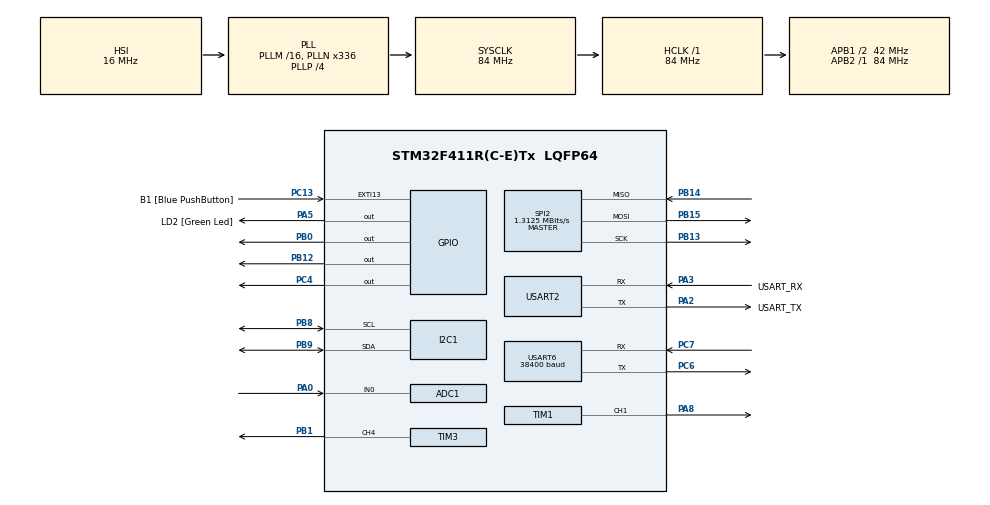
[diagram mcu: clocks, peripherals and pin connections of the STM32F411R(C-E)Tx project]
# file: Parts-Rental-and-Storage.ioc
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ADC1.Channel-0\#ChannelRegularConversion=ADC_CHANNEL_0
ADC1.NbrOfConversionFlag=1
ADC1.Rank-0\#ChannelRegularConversion=1
ADC1.SamplingTime-0\#ChannelRegularConversion=ADC_SAMPLETIME_144CYCLES
ADC1.master=1
Mcu.Family=STM32F4
Mcu.Name=STM32F411R(C-E)Tx
Mcu.Package=LQFP64
NVIC.PriorityGroup=NVIC_PRIORITYGROUP_0
NVIC.USART6_IRQn=true\:0\:0\:false\:false\:true\:true\:true\:true
PA0-WKUP.Signal=ADCx_IN0
PA13.GPIO_Label=TMS
PA13.Mode=Serial_Wire
PA13.Signal=SYS_JTMS-SWDIO
PA14.GPIO_Label=TCK
PA14.Mode=Serial_Wire
PA14.Signal=SYS_JTCK-SWCLK
PA2.GPIO_Label=USART_TX
PA2.Mode=Asynchronous
PA2.Signal=USART2_TX
PA3.GPIO_Label=USART_RX
PA3.Mode=Asynchronous
PA3.Signal=USART2_RX
PA5.GPIO_Label=LD2 [Green Led]
PA5.Signal=GPIO_Output
PA8.Signal=S_TIM1_CH1
PB0.Signal=GPIO_Output
PB1.Signal=S_TIM3_CH4
PB12.PinState=GPIO_PIN_SET
PB12.Signal=GPIO_Output
PB13.Mode=Full_Duplex_Master
PB13.Signal=SPI2_SCK
PB14.Mode=Full_Duplex_Master
PB14.Signal=SPI2_MISO
PB15.Mode=Full_Duplex_Master
PB15.Signal=SPI2_MOSI
PB3.GPIO_Label=SWO
PB3.Signal=SYS_JTDO-SWO
PB8.Mode=I2C
PB8.Signal=I2C1_SCL
PB9.Mode=I2C
PB9.Signal=I2C1_SDA
PC13-ANTI_TAMP.GPIO_Label=B1 [Blue PushButton]
PC13-ANTI_TAMP.GPIO_ModeDefaultEXTI=GPIO_MODE_IT_FALLING
PC13-ANTI_TAMP.Signal=GPXTI13
PC14-OSC32_IN.Mode=LSE-External-Oscillator
PC14-OSC32_IN.Signal=RCC_OSC32_IN
PC15-OSC32_OUT.Mode=LSE-External-Oscillator
PC15-OSC32_OUT.Signal=RCC_OSC32_OUT
PC4.PinState=GPIO_PIN_SET
PC4.Signal=GPIO_Output
PC6.Mode=Asynchronous
PC6.Signal=USART6_TX
PC7.Mode=Asynchronous
PC7.Signal=USART6_RX
PH0\ -\ OSC_IN.Mode=HSE-External-Clock-Source
PH0\ -\ OSC_IN.Signal=RCC_OSC_IN
PH1\ -\ OSC_OUT.Mode=HSE-External-Clock-Source
PH1\ -\ OSC_OUT.Signal=RCC_OSC_OUT
ProjectManager.HeapSize=0x200
ProjectManager.StackSize=0x400
ProjectManager.TargetToolchain=CMake
RCC.48MHZClocksFreq_Value=84000000
RCC.AHBFreq_Value=84000000
RCC.APB1CLKDivider=RCC_HCLK_DIV2
RCC.APB1Freq_Value=42000000
RCC.APB1TimFreq_Value=84000000
RCC.APB2Freq_Value=84000000
RCC.APB2TimFreq_Value=84000000
RCC.CortexFreq_Value=84000000
RCC.FLatency-AdvancedSettings=FLASH_LATENCY_2
RCC.HCLKFreq_Value=84000000
RCC.HSE_VALUE=8000000
RCC.HSI_VALUE=16000000
RCC.PLLN=336
RCC.PLLP=RCC_PLLP_DIV4
RCC.SYSCLKFreq_VALUE=84000000
RCC.SYSCLKSource=RCC_SYSCLKSOURCE_PLLCLK
RCC.VCOOutputFreq_Value=336000000
SH.ADCx_IN0.0=ADC1_IN0,IN0
SH.S_TIM1_CH1.0=TIM1_CH1,PWM Generation1 CH1
SH.S_TIM3_CH4.0=TIM3_CH4,PWM Generation4 CH4
SPI2.BaudRatePrescaler=SPI_BAUDRATEPRESCALER_32
SPI2.CalculateBaudRate=1.3125 MBits/s
SPI2.Direction=SPI_DIRECTION_2LINES
SPI2.Mode=SPI_MODE_MASTER
SPI2.VirtualType=VM_MASTER
TIM1.AutoReloadPreload=TIM_AUTORELOAD_PRELOAD_ENABLE
TIM1.Channel-PWM\ Generation1\ CH1=TIM_CHANNEL_1
TIM1.Period=19999
TIM1.Prescaler=83
TIM1.Pulse-PWM\ Generation1\ CH1=1500
TIM3.AutoReloadPreload=TIM_AUTORELOAD_PRELOAD_ENABLE
TIM3.Channel-PWM\ Generation4\ CH4=TIM_CHANNEL_4
TIM3.Period=499
TIM3.Prescaler=83
TIM3.Pulse-PWM\ Generation4\ CH4=0
USART2.VirtualMode=VM_ASYNC
USART6.BaudRate=38400
USART6.VirtualMode=VM_ASYNC
VP_TIM1_VS_ClockSourceINT.Mode=Internal
VP_TIM3_VS_ClockSourceINT.Mode=Internal
board=NUCLEO-F411RE

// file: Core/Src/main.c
/* USER CODE BEGIN Header */
/**
  ******************************************************************************
  * @file           : main.c
  * @brief          : Main program body
  ******************************************************************************
  * @attention
  *
  * Copyright (c) 2026 STMicroelectronics.
  * All rights reserved.
  *
  * This software is licensed under terms that can be found in the LICENSE file
  * in the root directory of this software component.
  * If no LICENSE file comes with this software, it is provided AS-IS.
  *
  ******************************************************************************
  */
/* USER CODE END Header */
#include "main.h"
#include "adc.h"
#include "i2c.h"
#include "spi.h"
#include "tim.h"
#include "usart.h"
#include "gpio.h"

/* USER CODE BEGIN Includes */
#include "esp.h"
#include "rc522.h"
#include "servo_lock.h"
#include "door_sensor.h"
#include "intrusion_alarm.h"
#include "lcd1602.h"
#include "tool_buzzer.h"
#include <stdio.h>
#include <string.h>
/* USER CODE END Includes */

/* USER CODE BEGIN PD */
#define LOCKER_LED_GPIO_PORT GPIOB
#define LOCKER_LED_GPIO_PIN  GPIO_PIN_0
/* USER CODE END PD */

/* USER CODE BEGIN PV */
static uint32_t wifi_check_tick;
static uint8_t wifi_connected;
static char wifi_message[ESP_MESSAGE_SIZE];
static uint8_t rfid_ready;
static uint32_t rfid_poll_tick;
static uint32_t rfid_error_tick;
static rc522_uid_t last_uid;
static uint8_t rfid_misses;
static uint8_t card_receipt_pending;
static uint32_t card_send_tick;
static char pending_card_uid[21];
static uint8_t card_auth_pending;
static uint32_t card_request_counter;
static char pending_card_request[17];
static uint32_t cds_sample_tick;
static uint32_t cds_send_tick;
static uint32_t cds_request_counter;
static uint8_t locker_led_on;
static door_state_t latest_door_state = DOOR_UNKNOWN;
static uint8_t alarm_state;
static uint8_t alarm_sent_state = 2U;
static uint32_t alarm_send_tick;
static char pending_room[11], active_room[11];
static uint8_t lcd_temporary_message;
static uint32_t lcd_message_tick;
static char session_uid[21], session_id[17], active_tool[32];
static char active_tool_result[9];
static uint8_t session_dirty = 1;
static uint32_t session_send_tick;
/* USER CODE END PV */

void SystemClock_Config(void);
/* USER CODE BEGIN PFP */
static void wifi_connect(void);
static void esp_event(char *message);
static void rfid_poll(void);
static void cds_sample(void);
static void alarm_poll(void);
static void lcd_prompt(void);
static void lcd_status(const char *first, const char *second);
static void camera_session_poll(void);
/* USER CODE END PFP */

int main(void)
{

  /* MCU Configuration--------------------------------------------------------*/

  /* Reset of all peripherals, Initializes the Flash interface and the Systick. */
  HAL_Init();

  /* Configure the system clock */
  SystemClock_Config();

  /* Initialize all configured peripherals */
  MX_GPIO_Init();
  MX_ADC1_Init();
  MX_I2C1_Init();
  MX_SPI2_Init();
  MX_TIM1_Init();
  MX_TIM3_Init();
  MX_USART2_UART_Init();
  MX_USART6_UART_Init();
  /* USER CODE BEGIN 2 */
  printf("\r\nParts locker - Wi-Fi start (USART6 baud probe)\r\n");
  printf("[BUZZER] %s\r\n", tool_buzzer_init() == 0 ? "PB1 PWM ready (2kHz)" : "Init FAILED");
  uint8_t lcd_address;
  if (lcd1602_init(&lcd_address) == 0)
  {
    printf("[LCD] Ready at I2C address=0x%02X\r\n", lcd_address);
    lcd_prompt();
  }
  else printf("[LCD] Init FAILED; check PB8/PB9, address and backpack wiring\r\n");
  printf("[SERVO] %s\r\n", servo_lock_init() == 0 ?
         "State=LOCK (initial position)" : "State=UNKNOWN; init FAILED; check TIM1 50Hz settings");
  uint8_t rfid_version;
  rfid_ready = rc522_init(&rfid_version) == 0;
  printf("[RFID] Version=0x%02X; %s\r\n", rfid_version,
         rfid_ready ? "ready - tag one card" : "init FAILED; check SPI/CS/RST/3.3V");
  if (ESP_WIFI_SSID[0] != '\0' && ESP_SERVER_HOST[0] != '\0')
  {
    wifi_connect();
  }
  else
  {
    printf("Set Wi-Fi SSID/password and server address in esp.h first\r\n");
  }
  wifi_check_tick = HAL_GetTick();
  /* USER CODE END 2 */

  /* Infinite loop */
  /* USER CODE BEGIN WHILE */
  while (1)
  {
    esp_poll();
    if (lcd_temporary_message && !card_auth_pending &&
        (uint32_t)(HAL_GetTick() - lcd_message_tick) >= 3000U) lcd_prompt();
    if (rfid_ready && !card_auth_pending &&
        (uint32_t)(HAL_GetTick() - rfid_poll_tick) >= 200U)
    {
      rfid_poll();
      rfid_poll_tick = HAL_GetTick();
    }
    while (esp_read_message(wifi_message, sizeof(wifi_message)) > 0)
    {
      esp_event(wifi_message);
    }
    if ((uint32_t)(HAL_GetTick() - cds_sample_tick) >= 500U)
    {
      cds_sample();
      cds_sample_tick = HAL_GetTick();
    }
    alarm_poll();
    camera_session_poll();
    if (card_receipt_pending && (uint32_t)(HAL_GetTick() - card_send_tick) >= 5000U)
    {
      printf("[RFID] Server receipt TIMEOUT for UID=%s; delivery not confirmed\r\n",
             pending_card_uid);
      esp_print_rx_diagnostic();
      card_receipt_pending = 0;
    }
    if (card_auth_pending && (uint32_t)(HAL_GetTick() - card_send_tick) >= 10000U)
    {
      printf("[AUTH] No authorization response for UID=%s; access not approved\r\n", pending_card_uid);
      card_auth_pending = 0;
      lcd_status("Server timeout", "Try card again");
    }
    if (!card_auth_pending &&
        (uint32_t)(HAL_GetTick() - wifi_check_tick) >= 10000U &&
        ESP_WIFI_SSID[0] != '\0' && ESP_SERVER_HOST[0] != '\0')
    {
      if (!wifi_connected || esp_get_status() != 0) wifi_connect();
      wifi_check_tick = HAL_GetTick();
    }
    HAL_Delay(1);
    /* USER CODE END WHILE */

  }
}

void SystemClock_Config(void)
{
  RCC_OscInitTypeDef RCC_OscInitStruct = {0};
  RCC_ClkInitTypeDef RCC_ClkInitStruct = {0};

  /** Configure the main internal regulator output voltage
  */
  __HAL_RCC_PWR_CLK_ENABLE();
  __HAL_PWR_VOLTAGESCALING_CONFIG(PWR_REGULATOR_VOLTAGE_SCALE1);

  /** Initializes the RCC Oscillators according to the specified parameters
  * in the RCC_OscInitTypeDef structure.
  */
  RCC_OscInitStruct.OscillatorType = RCC_OSCILLATORTYPE_HSI;
  RCC_OscInitStruct.HSIState = RCC_HSI_ON;
  RCC_OscInitStruct.HSICalibrationValue = RCC_HSICALIBRATION_DEFAULT;
  RCC_OscInitStruct.PLL.PLLState = RCC_PLL_ON;
  RCC_OscInitStruct.PLL.PLLSource = RCC_PLLSOURCE_HSI;
  RCC_OscInitStruct.PLL.PLLM = 16;
  RCC_OscInitStruct.PLL.PLLN = 336;
  RCC_OscInitStruct.PLL.PLLP = RCC_PLLP_DIV4;
  RCC_OscInitStruct.PLL.PLLQ = 4;
  if (HAL_RCC_OscConfig(&RCC_OscInitStruct) != HAL_OK)
  {
    Error_Handler();
  }

  /** Initializes the CPU, AHB and APB buses clocks
  */
  RCC_ClkInitStruct.ClockType = RCC_CLOCKTYPE_HCLK|RCC_CLOCKTYPE_SYSCLK
                              |RCC_CLOCKTYPE_PCLK1|RCC_CLOCKTYPE_PCLK2;
  RCC_ClkInitStruct.SYSCLKSource = RCC_SYSCLKSOURCE_PLLCLK;
  RCC_ClkInitStruct.AHBCLKDivider = RCC_SYSCLK_DIV1;
  RCC_ClkInitStruct.APB1CLKDivider = RCC_HCLK_DIV2;
  RCC_ClkInitStruct.APB2CLKDivider = RCC_HCLK_DIV1;

  if (HAL_RCC_ClockConfig(&RCC_ClkInitStruct, FLASH_LATENCY_2) != HAL_OK)
  {
    Error_Handler();
  }
}

/* USER CODE BEGIN 4 */
static void lcd_prompt(void)
{
  lcd_temporary_message = 0;
  if (servo_lock_is_unlocked())
  {
    char first[17];
    snprintf(first, sizeof(first), "Room %s", active_room[0] ? active_room : "?");
    if (active_tool[0])
    {
      char second[64];
      if (!strcmp(active_tool_result,"RENTED")) strcpy(second,"Rental complete");
      else if (!strcmp(active_tool_result,"RETURNED")) strcpy(second,"Return complete");
      else if (!strcmp(active_tool_result,"BUSY")) strcpy(second,"Tool in use");
      else snprintf(second, sizeof(second), "Tool %s detected", active_tool);
      lcd1602_show(first, second, 1);
    }
    else lcd1602_show(first, "Show tool to camera", 1);
  }
  else lcd1602_show("Tap RFID card", "", 0);
}

static void lcd_status(const char *first, const char *second)
{
  lcd1602_show(first, second, 0);
  lcd_message_tick = HAL_GetTick();
  lcd_temporary_message = 1;
}

static void cds_sample(void)
{
  uint32_t sum = 0;
  /* Average eight PA0 samples; bounded waits keep UART and servo responsive. */
  for (uint8_t i = 0; i < 8U; ++i)
  {
    HAL_StatusTypeDef status = HAL_ADC_Start(&hadc1);
    if (status == HAL_OK) status = HAL_ADC_PollForConversion(&hadc1, 2);
    if (status != HAL_OK)
    {
      HAL_ADC_Stop(&hadc1);
      door_sensor_discard_sample();
      printf("[CDS] ADC read FAILED (HAL status=%u)\r\n", (unsigned)status);
      return;
    }
    sum += HAL_ADC_GetValue(&hadc1);
    if (HAL_ADC_Stop(&hadc1) != HAL_OK)
    {
      door_sensor_discard_sample();
      printf("[CDS] ADC stop FAILED\r\n");
      return;
    }
    esp_poll();
  }
  uint32_t average = (sum + 4U) / 8U;
  /* Approximate voltage assumes a 3.3V ADC reference. */
  uint32_t millivolts = (average * 3300U + 2047U) / 4095U;
  door_state_t door = door_sensor_update((uint16_t)average);
  latest_door_state = door;
  uint8_t led_on = door == DOOR_OPEN;
  HAL_GPIO_WritePin(LOCKER_LED_GPIO_PORT, LOCKER_LED_GPIO_PIN,
                   led_on ? GPIO_PIN_SET : GPIO_PIN_RESET);
  if (led_on != locker_led_on)
  {
    locker_led_on = led_on;
    printf("[LED] State=%s (door=%s)\r\n", led_on ? "ON" : "OFF",
           door_sensor_state_name(door));
  }
  printf("[CDS] ADC=%lu voltage=%lu.%03luV door=%s led=%s\r\n", (unsigned long)average,
         (unsigned long)(millivolts / 1000U), (unsigned long)(millivolts % 1000U),
         door_sensor_state_name(door), led_on ? "ON" : "OFF");
  if (wifi_connected && !card_auth_pending &&
      (uint32_t)(HAL_GetTick() - cds_send_tick) >= 5000U)
  {
    char message[96];
    ++cds_request_counter;
    snprintf(message, sizeof(message), "[" ESP_DEVICE_ID "]SENSOR@%lu@%08lX%08lX\n",
             (unsigned long)average, (unsigned long)HAL_GetTick(), (unsigned long)cds_request_counter);
    cds_send_tick = HAL_GetTick();
    if (esp_send_data(message) != 0)
    {
      wifi_connected = 0;
      printf("[CDS] Server send FAILED; sample not queued for retry\r\n");
    }
  }
}

static void alarm_poll(void)
{
  uint32_t now = HAL_GetTick();
  uint8_t active = intrusion_alarm_update(!servo_lock_is_unlocked(), latest_door_state, now);
  if (active != alarm_state)
  {
    alarm_state = active;
    printf("[ALARM] %s locker=" ESP_DEVICE_ID "\r\n", active ? "ACTIVE" : "CLEAR");
  }
  if (wifi_connected && latest_door_state != DOOR_UNKNOWN &&
      (alarm_sent_state != active || (uint32_t)(now - alarm_send_tick) >= 5000U))
  {
    char message[80];
    snprintf(message, sizeof(message), "[" ESP_DEVICE_ID "]ALARM@%s\n", active ? "ACTIVE" : "CLEAR");
    if (esp_send_data(message) == 0)
    {
      alarm_sent_state = active;
      alarm_send_tick = HAL_GetTick();
    }
    else wifi_connected = 0;
  }
}

static void rfid_poll(void)
{
  rc522_uid_t uid;
  int result = rc522_read_uid(&uid);
  if (result == 0)
  {
    if (rfid_misses < 3U) ++rfid_misses;
    if (rfid_misses >= 3U) last_uid.length = 0;
    return;
  }
  if (result < 0)
  {
    if ((uint32_t)(HAL_GetTick() - rfid_error_tick) >= 2000U)
    {
      const rc522_diagnostic_t *info = rc522_diagnostic();
      printf("[RFID] %s FAILED: %s\r\n", info->stage, info->reason);
      printf("[RFID] irq=0x%02X error=0x%02X fifo=%u bits=%u\r\n",
             info->irq, info->error, info->fifo_count, info->last_bits);
      rfid_error_tick = HAL_GetTick();
    }
    return;
  }
  rfid_misses = 0;
  if (uid.length == last_uid.length &&
      memcmp(uid.bytes, last_uid.bytes, uid.length) == 0) return;
  last_uid = uid;
  char uid_hex[21];
  static const char hex[] = "0123456789ABCDEF";
  for (uint8_t i = 0; i < uid.length; ++i)
  {
    uid_hex[2U * i] = hex[uid.bytes[i] >> 4U];
    uid_hex[2U * i + 1U] = hex[uid.bytes[i] & 0x0FU];
  }
  uid_hex[2U * uid.length] = '\0';
  printf("[RFID] UID=%s\r\n", uid_hex);
  int currently_unlocked = servo_lock_is_unlocked();
  printf("[SERVO] State=%s (card tagged)\r\n", currently_unlocked ? "UNLOCK" : "LOCK");
  if (!servo_lock_card_can_operate(uid_hex))
  {
    lcd_status("Locker in use", "Use same card");
    printf("[RFID] Session=ACTIVE owner=%s; another card cannot toggle this locker\r\n",
           servo_lock_active_uid());
    return;
  }
  if (!wifi_connected)
  {
    lcd_status("Server offline", "Try card again");
    printf("[RFID] Server offline; card not sent. Retag after reconnect.\r\n");
    return;
  }
  char message[ESP_MESSAGE_SIZE];
  pending_room[0] = '\0';
  lcd_status("Checking card", "Please wait");
  ++card_request_counter;
  snprintf(pending_card_request, sizeof(pending_card_request), "%08lX%08lX",
           (unsigned long)HAL_GetTick(), (unsigned long)card_request_counter);
  int length = snprintf(message, sizeof(message), "[" ESP_DEVICE_ID "]CARD@%s@%s\n",
                        uid_hex, pending_card_request);
  if (length <= 0 || (size_t)length >= sizeof(message))
  {
    printf("[RFID] Card message too long\r\n");
    return;
  }
  printf("[RFID] TX (%d bytes): %.*s\\n\r\n", length, length - 1, message);
  if (esp_send_data(message) != 0)
  {
    wifi_connected = 0;
    lcd_status("Send failed", "Try card again");
    printf("[RFID] Card send FAILED; retag after reconnect\r\n");
  }
  else
  {
    strcpy(pending_card_uid, uid_hex);
    card_send_tick = HAL_GetTick();
    card_receipt_pending = 1;
    card_auth_pending = 1;
    servo_lock_expect(uid_hex, pending_card_request);
    printf("[RFID] ESP accepted card data; waiting for server receipt\r\n");
  }
}

static void camera_session_poll(void)
{
  uint32_t now = HAL_GetTick();
  if (!wifi_connected || card_auth_pending ||
      (!session_dirty && (uint32_t)(now - session_send_tick) < 5000U)) return;
  char message[112];
  if (!session_id[0]) snprintf(message, sizeof(message), "[" ESP_DEVICE_ID "]SESSION@CLOSED\n");
  else snprintf(message, sizeof(message), "[" ESP_DEVICE_ID "]SESSION@%s@%s@%s\n",
                session_uid, session_id, servo_lock_is_unlocked() ? "OPEN" : "CLOSED");
  if (esp_send_data(message) == 0)
  {
    session_send_tick = HAL_GetTick();
    session_dirty = 0;
  }
  else wifi_connected = 0;
}

static void wifi_connect(void)
{
  wifi_connected = 0;
  tool_buzzer_stop();
  alarm_sent_state = 2U; /* Report current alarm after every reconnect. */
  session_dirty = 1;
  card_receipt_pending = 0;
  card_auth_pending = 0;
  servo_lock_cancel_request();
  printf("Connecting Wi-Fi and TCP server...\r\n");
  if (drv_esp_init() != 0 || esp_client_conn() != 0)
  {
    printf("Wi-Fi connection failed; retry in 10 seconds\r\n");
    return;
  }
  wifi_connected = 1;
  printf("TCP server connected\r\n");
  if (esp_send_data("[" ESP_DEVICE_ID "]HELLO\n") != 0)
  {
    wifi_connected = 0;
    printf("HELLO send failed\r\n");
  }
}

static void esp_event(char *message)
{
  char *sender, *command_name, *value;
  char reply[ESP_MESSAGE_SIZE];
  int length;
  printf("Server: %s\r\n", message);
  /* Preserve the example's [sender]PLUG@ON/OFF protocol for an LD2 test. */
  if (message[0] != '[') return;
  sender = message + 1;
  command_name = strchr(sender, ']');
  if (command_name == NULL || command_name == sender) return;
  *command_name++ = '\0';
  value = strchr(command_name, '@');
  if (value == NULL) return;
  *value++ = '\0';
  if (strcmp(sender, "SERVER") == 0 && strcmp(command_name, "TOOL") == 0)
  {
    char *label = strchr(value, '@');
    if (!label) return;
    *label++ = '\0';
    char *event = strchr(label, '@');
    if (!event) return;
    *event++ = '\0';
    char *status = strchr(event, '@');
    if (!status) return;
    *status++ = '\0';
    size_t length = strlen(label);
    if (servo_lock_is_unlocked() && strcmp(value, session_id) == 0 &&
        (!strcmp(status,"SEEN") || !strcmp(status,"RENTED") ||
         !strcmp(status,"RETURNED") || !strcmp(status,"BUSY")) && length > 0 && length <= 31U)
    {
      uint8_t valid = 1;
      for (size_t i = 0; i < length; ++i)
        if (!((label[i] >= '0' && label[i] <= '9') || (label[i] >= 'A' && label[i] <= 'Z') ||
              (label[i] >= 'a' && label[i] <= 'z') || label[i] == '_')) valid = 0;
      if (valid)
      {
        strcpy(active_tool, label);
        strcpy(active_tool_result,status);
        lcd_prompt();
        printf("[RENTAL] tool=%s result=%s\r\n",label,status);
        if (strcmp(status,"BUSY") && tool_buzzer_event(value, event) == 1)
          printf("[BUZZER] Beep 150ms - tool=%s event=%s\r\n", label, event);
      }
    }
    return;
  }
  if (strcmp(sender, "SERVER") == 0 && strcmp(command_name, "USER") == 0)
  {
    char *request = strchr(value, '@');
    if (!request) return;
    *request++ = '\0';
    char *room = strchr(request, '@');
    if (!room) return;
    *room++ = '\0';
    size_t room_length = strlen(room);
    if (card_auth_pending && strcmp(value, pending_card_uid) == 0 &&
        strcmp(request, pending_card_request) == 0 && room_length > 0 && room_length <= 10U &&
        (uint32_t)(HAL_GetTick() - card_send_tick) < SERVO_AUTH_TIMEOUT_MS)
    {
      uint8_t valid = 1;
      for (size_t i = 0; i < room_length; ++i)
        if (!((room[i] >= '0' && room[i] <= '9') || (room[i] >= 'A' && room[i] <= 'Z') ||
              (room[i] >= 'a' && room[i] <= 'z') || room[i] == '-' || room[i] == '_')) valid = 0;
      if (valid) strcpy(pending_room, room);
    }
    return;
  }
  if (strcmp(sender, "SERVER") == 0 && strcmp(command_name, "SENSOR") == 0)
  {
    printf("[DB] CDS save result: %s\r\n", value);
    return;
  }
  if (strcmp(command_name, "AUTH") == 0)
  {
    char *request_id = strchr(value, '@');
    if (request_id == NULL) return;
    *request_id++ = '\0';
    char *status = strchr(request_id, '@');
    if (status == NULL) return;
    *status++ = '\0';
    if (!card_auth_pending || strcmp(sender, "SERVER") != 0 ||
        strcmp(value, pending_card_uid) != 0 ||
        strcmp(request_id, pending_card_request) != 0 ||
        (uint32_t)(HAL_GetTick() - card_send_tick) >= 10000U)
    {
      printf("[AUTH] Ignored unmatched/expired response\r\n");
      return;
    }
    int applied = servo_lock_authorize(value, request_id, status);
    if (applied == -2)
    {
      printf("[RFID] Another card owns this session; state unchanged\r\n");
      card_auth_pending = 0;
      return;
    }
    if (applied < 0)
    {
      printf("[AUTH] Ignored invalid response or servo unavailable\r\n");
      return;
    }
    if (applied == 1)
    {
      strcpy(session_uid, value);
      strcpy(session_id, request_id);
      active_tool[0] = '\0';
      session_dirty = 1;
      strcpy(active_room, pending_room);
      if (!active_room[0]) printf("[LCD] Room info missing; update relay and SQL_CLIENT\r\n");
      lcd_prompt();
      printf("[AUTH] APPROVED UID=%s\r\n", value);
      printf("[SERVO] State=UNLOCK (approved first tag)\r\n");
      printf("[RFID] Session=ACTIVE owner=%s; retag the same card to lock\r\n", value);
    }
    else if (applied == 2)
    {
      active_tool[0] = '\0';
      session_dirty = 1;
      active_room[0] = '\0';
      lcd_prompt();
      printf("[AUTH] APPROVED UID=%s\r\n", value);
      printf("[SERVO] State=LOCK (approved second tag)\r\n");
      printf("[RFID] Session=IDLE\r\n");
    }
    else if (strcmp(status, "DENIED") == 0)
    {
      lcd_status("Access denied", "Try card again");
      printf("[AUTH] DENIED UID=%s\r\n", value);
      printf("[SERVO] State=%s (access denied; unchanged)\r\n",
             servo_lock_is_unlocked() ? "UNLOCK" : "LOCK");
    }
    else if (strcmp(status, "ERROR") == 0)
    {
      lcd_status("Server error", "Try card again");
      printf("[AUTH] DB ERROR UID=%s; access not approved\r\n", value);
      printf("[SERVO] State=%s (DB error; unchanged)\r\n",
             servo_lock_is_unlocked() ? "UNLOCK" : "LOCK");
    }
    else return;
    card_auth_pending = 0;
    return;
  }
  if (strcmp(command_name, "CARD") == 0)
  {
    char expected[64];
    snprintf(expected, sizeof(expected), "%s@%s@RECEIVED", pending_card_uid, pending_card_request);
    if (card_receipt_pending && strcmp(sender, "SERVER") == 0 && strcmp(value, expected) == 0)
    {
      printf("[RFID] Server receipt confirmed: UID=%s\r\n", pending_card_uid);
      card_receipt_pending = 0;
    }
    return;
  }
  if (strcmp(command_name, "PLUG") != 0) return;
  if (strcmp(value, "ON") == 0)
    HAL_GPIO_WritePin(LD2_GPIO_Port, LD2_Pin, GPIO_PIN_SET);
  else if (strcmp(value, "OFF") == 0)
    HAL_GPIO_WritePin(LD2_GPIO_Port, LD2_Pin, GPIO_PIN_RESET);
  else return;
  length = snprintf(reply, sizeof(reply), "[%s]PLUG@%s\n", sender, value);
  if (length > 0 && (size_t)length < sizeof(reply) && esp_send_data(reply) != 0)
    wifi_connected = 0;
}
/* USER CODE END 4 */

void Error_Handler(void)
{
  __disable_irq();
  while (1)
  {
  }
}
